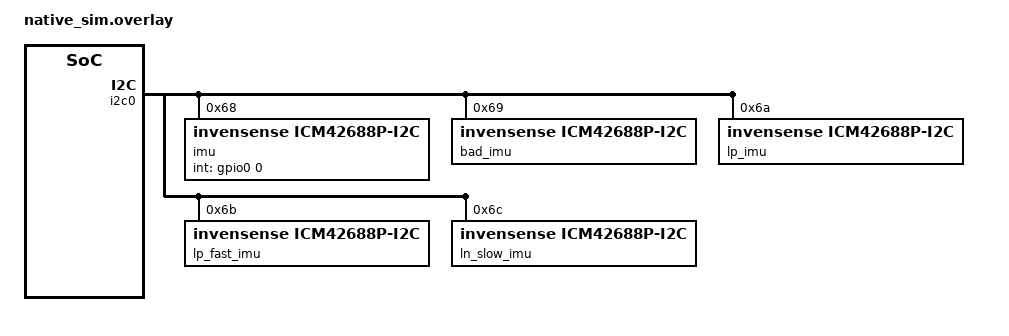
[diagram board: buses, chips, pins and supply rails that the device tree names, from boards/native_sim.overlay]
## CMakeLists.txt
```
# SPDX-License-Identifier: MIT

cmake_minimum_required(VERSION 3.20.0)

list(APPEND ZEPHYR_EXTRA_MODULES ${CMAKE_CURRENT_SOURCE_DIR}/../../common/src/drivers)

find_package(Zephyr REQUIRED HINTS $ENV{ZEPHYR_BASE})
project(icm42688_i2c)

target_sources(app PRIVATE
	src/main.c
	src/icm42688_emul.c
)

target_include_directories(app PRIVATE ${ZEPHYR_BASE}/drivers/sensor/tdk/icm4268x)
target_compile_options(app PRIVATE -Wextra -Werror)
```

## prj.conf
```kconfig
# SPDX-License-Identifier: MIT

CONFIG_ZTEST=y
CONFIG_SENSOR=y
CONFIG_GPIO=y
CONFIG_I2C=y
CONFIG_EMUL=y
```

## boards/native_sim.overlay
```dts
/* SPDX-License-Identifier: MIT */

#include <zephyr/dt-bindings/sensor/icm42688.h>

&i2c0 {
	/* Wired INT1; emulator reports the correct WHO_AM_I. */
	imu: icm42688@68 {
		compatible = "invensense,icm42688p-i2c";
		reg = <0x68>;
		int-gpios = <&gpio0 0 GPIO_ACTIVE_HIGH>;
		accel-pwr-mode = <ICM42688_DT_ACCEL_LN>;
		accel-odr = <ICM42688_DT_ACCEL_ODR_100>;
		accel-fs = <ICM42688_DT_ACCEL_FS_2>;
		gyro-pwr-mode = <ICM42688_DT_GYRO_LN>;
		gyro-odr = <ICM42688_DT_GYRO_ODR_200>;
		gyro-fs = <ICM42688_DT_GYRO_FS_2000>;
	};

	/* No INT1; emulator reports a wrong WHO_AM_I, so init must fail. */
	bad_imu: icm42688@69 {
		compatible = "invensense,icm42688p-i2c";
		reg = <0x69>;
	};

	/* Valid low-power start-up: accelerometer LP at 50 Hz, gyroscope off.
	 * The emulator powers this part up with I3C_BUS_MODE set.
	 */
	lp_imu: icm42688@6a {
		compatible = "invensense,icm42688p-i2c";
		reg = <0x6a>;
		accel-pwr-mode = <ICM42688_DT_ACCEL_LP>;
		accel-odr = <ICM42688_DT_ACCEL_ODR_50>;
		accel-fs = <ICM42688_DT_ACCEL_FS_2>;
		gyro-pwr-mode = <ICM42688_DT_GYRO_OFF>;
		gyro-odr = <ICM42688_DT_GYRO_ODR_100>;
		gyro-fs = <ICM42688_DT_GYRO_FS_2000>;
	};

	/* LP mode does not support 1 kHz; init must fail. */
	lp_fast_imu: icm42688@6b {
		compatible = "invensense,icm42688p-i2c";
		reg = <0x6b>;
		accel-pwr-mode = <ICM42688_DT_ACCEL_LP>;
		accel-odr = <ICM42688_DT_ACCEL_ODR_1000>;
	};

	/* LN mode does not support 6.25 Hz; init must fail. */
	ln_slow_imu: icm42688@6c {
		compatible = "invensense,icm42688p-i2c";
		reg = <0x6c>;
		accel-pwr-mode = <ICM42688_DT_ACCEL_LN>;
		accel-odr = <ICM42688_DT_ACCEL_ODR_6_25>;
	};
};
```

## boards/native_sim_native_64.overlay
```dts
/* SPDX-License-Identifier: MIT */

#include "native_sim.overlay"
```

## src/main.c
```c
/* SPDX-License-Identifier: MIT */

#include <zephyr/device.h>
#include <zephyr/drivers/emul.h>
#include <zephyr/drivers/gpio.h>
#include <zephyr/drivers/gpio/gpio_emul.h>
#include <zephyr/drivers/sensor.h>
#include <zephyr/dt-bindings/sensor/icm42688.h>
#include <zephyr/kernel.h>
#include <zephyr/ztest.h>

#include "icm4268x_reg.h"
#include "icm42688_emul.h"
#include "bus_lock.h"

#define B0(reg) ((uint8_t)FIELD_GET(REG_ADDRESS_MASK, (reg)))

#define IMU_NODE DT_NODELABEL(imu)

static const struct device *const imu = DEVICE_DT_GET(IMU_NODE);
static const struct device *const bad_imu = DEVICE_DT_GET(DT_NODELABEL(bad_imu));
static const struct device *const lp_imu = DEVICE_DT_GET(DT_NODELABEL(lp_imu));
static const struct emul *const emul = EMUL_DT_GET(IMU_NODE);
static const struct emul *const lp_emul = EMUL_DT_GET(DT_NODELABEL(lp_imu));
static const struct gpio_dt_spec int1 = GPIO_DT_SPEC_GET(IMU_NODE, int_gpios);

static K_SEM_DEFINE(drdy_sem, 0, 1);

static void set_be16(uint8_t reg, int16_t v)
{
	icm42688_emul_set(emul, 0, reg, (uint8_t)((uint16_t)v >> 8));
	icm42688_emul_set(emul, 0, reg + 1, (uint8_t)v);
}

static double value(const struct sensor_value *v)
{
	return sensor_value_to_double(v);
}

ZTEST(icm42688_i2c, test_init_and_i2c_mode)
{
	zassert_true(device_is_ready(imu));
	zassert_equal(icm42688_emul_resets(emul), 1, "one soft reset");

	/* DS-000347 §12.3 I2C settings and §12.6 INT_ASYNC_RESET = 0. */
	zassert_equal(icm42688_emul_get(emul, 1, 0x7C), 0x5C, "I3C SDR/DDR disabled");
	zassert_equal(icm42688_emul_get(emul, 1, 0x7A), 0x83, "I3C_BUS_MODE clear, rest kept");
	zassert_equal(icm42688_emul_get(emul, 0, B0(REG_DRIVE_CONFIG)), 0x09);
	zassert_equal(icm42688_emul_get(emul, 0, B0(REG_INTF_CONFIG0)), 0x32, "SPI disabled");
	zassert_equal(icm42688_emul_get(emul, 0, B0(REG_INT_CONFIG)), 0x03);
	zassert_equal(icm42688_emul_get(emul, 0, B0(REG_INT_CONFIG1)), 0x00);

	zassert_equal(icm42688_emul_get(emul, 0, B0(REG_PWR_MGMT0)), 0x0F, "accel+gyro LN");
	zassert_equal(icm42688_emul_get(emul, 0, B0(REG_ACCEL_CONFIG0)),
		      (ICM42688_DT_ACCEL_FS_2 << 5) | ICM42688_DT_ACCEL_ODR_100);
	zassert_equal(icm42688_emul_get(emul, 0, B0(REG_GYRO_CONFIG0)),
		      (ICM42688_DT_GYRO_FS_2000 << 5) | ICM42688_DT_GYRO_ODR_200);
	zassert_false(icm42688_emul_config_while_on(emul), "ODR set before power-on");
}

ZTEST(icm42688_i2c, test_wrong_identity_rejected)
{
	zassert_false(device_is_ready(bad_imu));
}

ZTEST(icm42688_i2c, test_low_power_startup)
{
	zassert_true(device_is_ready(lp_imu));
	zassert_equal(icm42688_emul_get(lp_emul, 1, 0x7A), 0x83, "I3C_BUS_MODE cleared");
	zassert_equal(icm42688_emul_get(lp_emul, 0, B0(REG_PWR_MGMT0)), ICM42688_DT_ACCEL_LP,
		      "accel LP, gyro off");
	zassert_equal(icm42688_emul_get(lp_emul, 0, B0(REG_ACCEL_CONFIG0)),
		      (ICM42688_DT_ACCEL_FS_2 << 5) | ICM42688_DT_ACCEL_ODR_50);
	zassert_false(icm42688_emul_config_while_on(lp_emul), "ODR set before power-on");
}

ZTEST(icm42688_i2c, test_unsupported_odr_rejected)
{
	/* Rejected before any bus access, so the parts are never reset. */
	zassert_false(device_is_ready(DEVICE_DT_GET(DT_NODELABEL(lp_fast_imu))));
	zassert_equal(icm42688_emul_resets(EMUL_DT_GET(DT_NODELABEL(lp_fast_imu))), 0);
	zassert_false(device_is_ready(DEVICE_DT_GET(DT_NODELABEL(ln_slow_imu))));
	zassert_equal(icm42688_emul_resets(EMUL_DT_GET(DT_NODELABEL(ln_slow_imu))), 0);
}

ZTEST(icm42688_i2c, test_invalid_samples)
{
	struct sensor_value v[3];

	/* Everything invalid, as from reset until the first sample or with both
	 * sensors off.
	 */
	for (uint8_t r = B0(REG_TEMP_DATA1); r <= B0(REG_GYRO_DATA_Z0); r += 2) {
		set_be16(r, INT16_MIN);
	}
	zassert_equal(sensor_sample_fetch(imu), -EAGAIN);
	zassert_equal(sensor_channel_get(imu, SENSOR_CHAN_ACCEL_XYZ, v), -ENODATA);
	zassert_equal(sensor_channel_get(imu, SENSOR_CHAN_DIE_TEMP, v), -ENODATA);

	/* Accel and temperature sampled; gyro off or still starting up. */
	set_be16(B0(REG_TEMP_DATA1), 0);
	set_be16(B0(REG_TEMP_DATA1) + 2, 0);
	set_be16(B0(REG_TEMP_DATA1) + 4, 0);
	set_be16(B0(REG_TEMP_DATA1) + 6, 16384);
	zassert_ok(sensor_sample_fetch(imu));
	zassert_ok(sensor_channel_get(imu, SENSOR_CHAN_ACCEL_Z, v));
	zassert_within(value(&v[0]), 9.80665, 0.001);
	zassert_equal(sensor_channel_get(imu, SENSOR_CHAN_GYRO_XYZ, v), -ENODATA);
	zassert_equal(sensor_channel_get(imu, SENSOR_CHAN_GYRO_X, v), -ENODATA);
	zassert_equal(sensor_sample_fetch_chan(imu, SENSOR_CHAN_GYRO_XYZ), -EAGAIN);
	zassert_ok(sensor_sample_fetch_chan(imu, SENSOR_CHAN_ACCEL_XYZ));
}

ZTEST(icm42688_i2c, test_conversion)
{
	struct sensor_value v[3];

	set_be16(B0(REG_TEMP_DATA1), 1325);       /* ~ +10 C over 25 C */
	set_be16(B0(REG_TEMP_DATA1) + 2, 16384);  /* +1 g at +/-2 g */
	set_be16(B0(REG_TEMP_DATA1) + 4, -16384); /* -1 g */
	set_be16(B0(REG_TEMP_DATA1) + 6, 0);
	set_be16(B0(REG_TEMP_DATA1) + 8, 16384); /* +1000 dps at +/-2000 dps */
	set_be16(B0(REG_TEMP_DATA1) + 10, 0);
	set_be16(B0(REG_TEMP_DATA1) + 12, -32766); /* most negative valid sample */

	zassert_ok(sensor_sample_fetch(imu));

	zassert_ok(sensor_channel_get(imu, SENSOR_CHAN_ACCEL_XYZ, v));
	zassert_within(value(&v[0]), 9.80665, 0.001);
	zassert_within(value(&v[1]), -9.80665, 0.001);
	zassert_within(value(&v[2]), 0.0, 0.001);

	zassert_ok(sensor_channel_get(imu, SENSOR_CHAN_GYRO_XYZ, v));
	zassert_within(value(&v[0]), 17.4533, 0.001);
	zassert_within(value(&v[2]), -34.9045, 0.001);

	zassert_ok(sensor_channel_get(imu, SENSOR_CHAN_DIE_TEMP, v));
	zassert_within(value(&v[0]), 35.0, 0.01);
}

static void on_drdy(const struct device *dev, const struct sensor_trigger *trig)
{
	ARG_UNUSED(dev);
	ARG_UNUSED(trig);
	k_sem_give(&drdy_sem);
}

ZTEST(icm42688_i2c, test_data_ready_trigger)
{
	static const struct sensor_trigger drdy = {
		.type = SENSOR_TRIG_DATA_READY,
		.chan = SENSOR_CHAN_ALL,
	};

	zassert_ok(sensor_trigger_set(imu, &drdy, on_drdy));
	zassert_equal(icm42688_emul_get(emul, 0, B0(REG_INT_SOURCE0)), BIT_UI_DRDY_INT1_EN);

	icm42688_emul_set(emul, 0, B0(REG_INT_STATUS), BIT_DATA_RDY_INT);
	/* The deferred IRQ reader must not enter a guarded NFC bus interval. */
	zassert_ok(badge_bus_lock());
	zassert_ok(gpio_emul_input_set(int1.port, int1.pin, 1));
	k_sleep(K_MSEC(10));
	zassert_equal(k_sem_take(&drdy_sem, K_NO_WAIT), -EBUSY);
	zassert_equal(icm42688_emul_get(emul, 0, B0(REG_INT_STATUS)), BIT_DATA_RDY_INT);
	badge_bus_unlock();
	zassert_ok(k_sem_take(&drdy_sem, K_MSEC(100)), "handler not called");
	zassert_equal(icm42688_emul_get(emul, 0, B0(REG_INT_STATUS)), 0, "status cleared");
	zassert_ok(gpio_emul_input_set(int1.port, int1.pin, 0));

	zassert_ok(sensor_trigger_set(imu, &drdy, NULL));
	zassert_equal(icm42688_emul_get(emul, 0, B0(REG_INT_SOURCE0)), 0);
}

ZTEST(icm42688_i2c, test_unsupported_trigger)
{
	static const struct sensor_trigger motion = {
		.type = SENSOR_TRIG_MOTION,
		.chan = SENSOR_CHAN_ALL,
	};

	zassert_equal(sensor_trigger_set(imu, &motion, on_drdy), -ENOTSUP);
}

ZTEST_SUITE(icm42688_i2c, NULL, NULL, NULL, NULL, NULL);
```

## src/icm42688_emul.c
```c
/*
 * SPDX-License-Identifier: MIT
 *
 * Register-level ICM-42688-P emulator: five register banks selected through
 * BANK_SEL, soft reset with RESET_DONE, read-to-clear INT_STATUS, and the
 * reset values the driver relies on (TDK DS-000347 Rev 1.2). Sensor data
 * registers power up holding -32768, which the part reports until each
 * sensor's first sample (§12.8).
 * The instance at address 0x69 reports WHO_AM_I 0x00 so the identity check
 * can be tested; the instance at 0x6A powers up with INTF_CONFIG4.I3C_BUS_MODE
 * set so clearing it can be tested.
 */

#define DT_DRV_COMPAT invensense_icm42688p_i2c

#include <string.h>
#include <zephyr/device.h>
#include <zephyr/drivers/emul.h>
#include <zephyr/drivers/i2c.h>
#include <zephyr/drivers/i2c_emul.h>

#include "icm4268x_reg.h"
#include "icm42688_emul.h"

#define BANKS        5
#define B0(reg)      ((uint8_t)FIELD_GET(REG_ADDRESS_MASK, (reg)))
#define INTF_CONFIG4 0x7A /* bank 1 */
#define INTF_CONFIG6 0x7C /* bank 1 */

struct icm42688_emul_data {
	uint8_t regs[BANKS][256];
	uint8_t bank;
	unsigned int resets;
	bool config_while_on;
};

struct icm42688_emul_cfg {
	uint8_t who_am_i;
	uint8_t intf_config4;
};

static void power_on(const struct emul *target)
{
	const struct icm42688_emul_cfg *cfg = target->cfg;
	struct icm42688_emul_data *d = target->data;

	memset(d->regs, 0, sizeof(d->regs));
	d->bank = 0;
	d->regs[0][B0(REG_WHO_AM_I)] = cfg->who_am_i;
	d->regs[0][B0(REG_INTF_CONFIG0)] = 0x30;
	d->regs[0][B0(REG_INTF_CONFIG1)] = 0x91;
	d->regs[0][B0(REG_INT_CONFIG1)] = 0x10;
	d->regs[0][B0(REG_GYRO_CONFIG0)] = 0x06;
	d->regs[0][B0(REG_ACCEL_CONFIG0)] = 0x06;
	for (uint8_t r = B0(REG_TEMP_DATA1); r <= B0(REG_GYRO_DATA_Z0); r += 2) {
		d->regs[0][r] = 0x80; /* -32768, big-endian */
	}
	d->regs[1][INTF_CONFIG4] = cfg->intf_config4;
	d->regs[1][INTF_CONFIG6] = 0x5F;
}

static void write_reg(const struct emul *target, uint8_t reg, uint8_t val)
{
	struct icm42688_emul_data *d = target->data;

	if (reg == REG_BANK_SEL) {
		d->bank = val;
		return;
	}
	if (d->bank >= BANKS) {
		return;
	}
	if (d->bank == 0 && reg == B0(REG_DEVICE_CONFIG) && (val & BIT_SOFT_RESET_CONFIG)) {
		power_on(target);
		d->regs[0][B0(REG_INT_STATUS)] = BIT_RESET_DONE_INT;
		d->resets++;
		return;
	}
	/* ODR/full-scale writes while a sensor is on are recorded so the
	 * driver's configuration order can be checked.
	 */
	if (d->bank == 0 && (reg == B0(REG_ACCEL_CONFIG0) || reg == B0(REG_GYRO_CONFIG0)) &&
	    d->regs[0][B0(REG_PWR_MGMT0)] != 0) {
		d->config_while_on = true;
	}
	d->regs[d->bank][reg] = val;
}

static uint8_t read_reg(const struct emul *target, uint8_t reg)
{
	struct icm42688_emul_data *d = target->data;
	uint8_t val;

	if (reg == REG_BANK_SEL) {
		return d->bank;
	}
	if (d->bank >= BANKS) {
		return 0;
	}
	val = d->regs[d->bank][reg];
	if (d->bank == 0 && reg == B0(REG_INT_STATUS)) {
		d->regs[0][reg] = 0; /* read to clear */
	}
	return val;
}

static int icm42688_emul_transfer(const struct emul *target, struct i2c_msg *msgs, int num_msgs,
				  int addr)
{
	ARG_UNUSED(addr);

	if (num_msgs < 1 || (msgs[0].flags & I2C_MSG_READ) || msgs[0].len < 1) {
		return -EIO;
	}
	uint8_t reg = msgs[0].buf[0];

	if (num_msgs == 1) {
		for (uint32_t i = 1; i < msgs[0].len; i++) {
			write_reg(target, reg + i - 1, msgs[0].buf[i]);
		}
		return 0;
	}
	if (num_msgs == 2 && (msgs[1].flags & I2C_MSG_READ)) {
		for (uint32_t i = 0; i < msgs[1].len; i++) {
			msgs[1].buf[i] = read_reg(target, reg + i);
		}
		return 0;
	}
	return -EIO;
}

static const struct i2c_emul_api icm42688_emul_api = {
	.transfer = icm42688_emul_transfer,
};

uint8_t icm42688_emul_get(const struct emul *target, uint8_t bank, uint8_t reg)
{
	struct icm42688_emul_data *d = target->data;

	return d->regs[bank][reg];
}

void icm42688_emul_set(const struct emul *target, uint8_t bank, uint8_t reg, uint8_t val)
{
	struct icm42688_emul_data *d = target->data;

	d->regs[bank][reg] = val;
}

unsigned int icm42688_emul_resets(const struct emul *target)
{
	struct icm42688_emul_data *d = target->data;

	return d->resets;
}

bool icm42688_emul_config_while_on(const struct emul *target)
{
	struct icm42688_emul_data *d = target->data;

	return d->config_while_on;
}

static int icm42688_emul_init(const struct emul *target, const struct device *parent)
{
	ARG_UNUSED(parent);
	power_on(target);
	/* Leave a non-zero bank selected, as after an MCU-only reset. */
	((struct icm42688_emul_data *)target->data)->bank = 1;
	return 0;
}

#define ICM42688_EMUL(inst)                                                                        \
	static struct icm42688_emul_data icm42688_emul_data_##inst;                                \
	static const struct icm42688_emul_cfg icm42688_emul_cfg_##inst = {                         \
		.who_am_i = DT_INST_REG_ADDR(inst) == 0x69 ? 0x00 : WHO_AM_I_ICM42688,             \
		.intf_config4 = DT_INST_REG_ADDR(inst) == 0x6A ? 0xC3 : 0x83,                      \
	};                                                                                         \
	EMUL_DT_INST_DEFINE(inst, icm42688_emul_init, &icm42688_emul_data_##inst,                  \
			    &icm42688_emul_cfg_##inst, &icm42688_emul_api, NULL);

DT_INST_FOREACH_STATUS_OKAY(ICM42688_EMUL)
```

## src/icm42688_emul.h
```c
/* SPDX-License-Identifier: MIT */

#ifndef ICM42688_EMUL_H_
#define ICM42688_EMUL_H_

#include <stdbool.h>
#include <stdint.h>
#include <zephyr/drivers/emul.h>

uint8_t icm42688_emul_get(const struct emul *target, uint8_t bank, uint8_t reg);
void icm42688_emul_set(const struct emul *target, uint8_t bank, uint8_t reg, uint8_t val);
unsigned int icm42688_emul_resets(const struct emul *target);
/* True if ACCEL_CONFIG0 or GYRO_CONFIG0 was written while PWR_MGMT0 was non-zero. */
bool icm42688_emul_config_while_on(const struct emul *target);

#endif /* ICM42688_EMUL_H_ */
```
